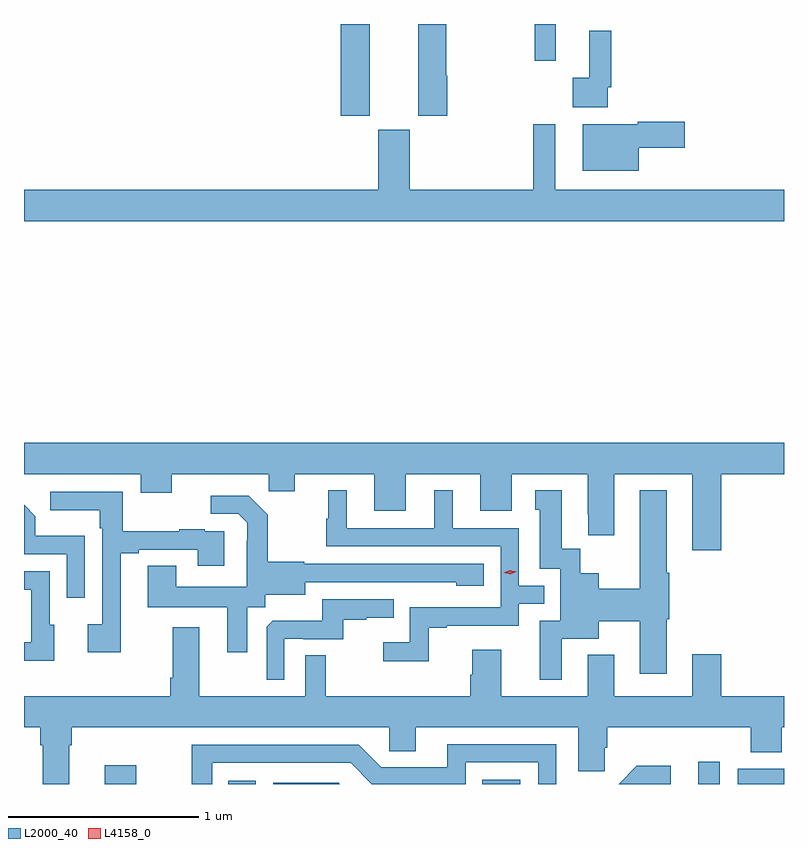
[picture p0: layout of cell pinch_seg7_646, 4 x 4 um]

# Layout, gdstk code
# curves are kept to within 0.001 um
import gdstk
lib = gdstk.Library(unit=1e-6, precision=1e-09)
def R(c, l, rs):  # rectangles x0, y0, x1, y1
    for r in rs: c.add(gdstk.rectangle(r[:2], r[2:], *l))
def P(c, l, *ps):  # polygons
    for p in ps: c.add(gdstk.Polygon(p, *l))
L2000_40 = (2000, 40)
L4158_0 = (4158, 0)

pinch_seg7_646 = lib.new_cell('pinch_seg7_646')
R(pinch_seg7_646, L2000_40, [(215.072,1026.957,215.238,1027.057), (215.722,1026.957,215.868,1026.973), (217.06,1026.957,217.258,1026.979), (218.195,1026.957,218.31,1027.075), (218.403,1026.957,218.647,1027.038), (216.314,1030.473,216.466,1030.957), (217.335,1030.764,217.445,1030.957)])
P(pinch_seg7_646, L2000_40, [(216.875,1030.685),(216.87,1030.685),(216.87,1030.957),(216.722,1030.957),(216.722,1030.473),(216.875,1030.473)],
  [(217.719,1030.624),(217.739,1030.624),(217.739,1030.921),(217.622,1030.921),(217.622,1030.673),(217.536,1030.673),(217.536,1030.52),(217.719,1030.52)],
  [(217.882,1030.307),(218.125,1030.307),(218.125,1030.442),(217.878,1030.442),(217.878,1030.429),(217.589,1030.429),(217.589,1030.184),(217.882,1030.184)],
  [(218.647,1030.084),(217.444,1030.084),(217.444,1030.429),(217.327,1030.429),(217.327,1030.084),(216.676,1030.084),(216.676,1030.401),(216.512,1030.401),(216.512,1030.084),(214.647,1030.084),(214.647,1029.92),(218.647,1029.92)],
  [(218.318,1028.588),(218.647,1028.588),(218.647,1028.752),(214.647,1028.752),(214.647,1028.588),(215.261,1028.588),(215.261,1028.489),(215.425,1028.489),(215.425,1028.588),(215.935,1028.588),(215.935,1028.498),(216.073,1028.498),(216.073,1028.588),(216.491,1028.588),(216.491,1028.394),(216.655,1028.394),(216.655,1028.588),(217.049,1028.588),(217.049,1028.394),(217.213,1028.394),(217.213,1028.588),(217.613,1028.588),(217.613,1028.377),(217.616,1028.377),(217.616,1028.265),(217.753,1028.265),(217.753,1028.588),(218.165,1028.588),(218.165,1028.187),(218.318,1028.187)],
  [(216.777,1027.779),(216.871,1027.779),(216.871,1027.791),(217.251,1027.791),(217.251,1027.905),(217.384,1027.905),(217.384,1028.001),(217.251,1028.001),(217.251,1028.304),(216.904,1028.304),(216.904,1028.503),(216.806,1028.503),(216.806,1028.304),(216.346,1028.304),(216.346,1028.503),(216.248,1028.503),(216.248,1028.352),(216.237,1028.352),(216.237,1028.208),(217.155,1028.208),(217.155,1027.887),(216.678,1027.887),(216.678,1027.702),(216.537,1027.702),(216.537,1027.603),(216.777,1027.603)],
  [(217.477,1027.721),(217.672,1027.721),(217.672,1027.813),(217.889,1027.813),(217.889,1027.536),(218.029,1027.536),(218.029,1027.824),(218.042,1027.824),(218.042,1028.068),(218.029,1028.068),(218.029,1028.503),(217.889,1028.503),(217.889,1027.985),(217.672,1027.985),(217.672,1028.065),(217.575,1028.065),(217.575,1028.195),(217.477,1028.195),(217.477,1028.503),(217.337,1028.503),(217.337,1028.4),(217.361,1028.4),(217.361,1028.091),(217.47,1028.091),(217.47,1027.815),(217.361,1027.815),(217.361,1027.506),(217.477,1027.506)],
  [(215.155,1028.172),(215.251,1028.172),(215.251,1028.19),(215.561,1028.19),(215.561,1028.106),(215.701,1028.106),(215.701,1028.286),(215.597,1028.286),(215.597,1028.299),(215.465,1028.299),(215.465,1028.288),(215.167,1028.288),(215.167,1028.496),(214.785,1028.496),(214.785,1028.399),(215.046,1028.399),(215.046,1028.303),(215.058,1028.303),(215.058,1027.798),(214.983,1027.798),(214.983,1027.65),(215.155,1027.65)],
  [(215.821,1027.888),(215.916,1027.888),(215.916,1027.952),(216.127,1027.952),(216.127,1028.019),(216.921,1028.018),(216.921,1028),(217.066,1028),(217.066,1028.115),(216.123,1028.115),(216.123,1028.128),(215.931,1028.128),(215.931,1028.373),(215.831,1028.473),(215.631,1028.473),(215.631,1028.379),(215.775,1028.379),(215.822,1028.332),(215.822,1028.237),(215.82,1028.237),(215.82,1027.996),(215.449,1027.996),(215.449,1028.105),(215.297,1028.105),(215.297,1027.886),(215.717,1027.886),(215.717,1027.65),(215.821,1027.65)],
  [(214.968,1028.263),(214.707,1028.263),(214.707,1028.366),(214.647,1028.426),(214.647,1028.166),(214.872,1028.166),(214.872,1027.938),(214.968,1027.938)],
  [(214.807,1027.794),(214.782,1027.794),(214.782,1028.076),(214.647,1028.076),(214.647,1027.98),(214.686,1027.98),(214.686,1027.704),(214.647,1027.704),(214.647,1027.607),(214.807,1027.607)],
  [(216.018,1027.722),(216.118,1027.722),(216.118,1027.719),(216.326,1027.719),(216.326,1027.821),(216.449,1027.821),(216.449,1027.832),(216.593,1027.832),(216.593,1027.929),(216.216,1027.929),(216.216,1027.817),(215.957,1027.817),(215.925,1027.785),(215.925,1027.505),(216.018,1027.505)],
  [(214.885,1027.16),(214.898,1027.16),(214.898,1027.256),(216.57,1027.256),(216.57,1027.129),(216.709,1027.129),(216.709,1027.256),(217.565,1027.256),(217.565,1027.024),(217.704,1027.024),(217.704,1027.147),(217.718,1027.147),(217.718,1027.256),(218.471,1027.256),(218.471,1027.123),(218.636,1027.123),(218.636,1027.256),(218.647,1027.256),(218.647,1027.42),(218.318,1027.42),(218.318,1027.639),(218.165,1027.639),(218.165,1027.42),(217.753,1027.42),(217.753,1027.636),(217.613,1027.636),(217.613,1027.42),(217.159,1027.42),(217.159,1027.663),(217.007,1027.663),(217.007,1027.533),(216.995,1027.533),(216.995,1027.42),(216.235,1027.42),(216.235,1027.634),(216.126,1027.634),(216.126,1027.42),(215.569,1027.42),(215.569,1027.783),(215.429,1027.783),(215.429,1027.516),(215.417,1027.516),(215.417,1027.42),(214.647,1027.42),(214.647,1027.256),(214.733,1027.256),(214.733,1027.16),(214.745,1027.16),(214.745,1026.957),(214.885,1026.957)],
  [(215.637,1027.068),(216.366,1027.068),(216.477,1026.957),(216.972,1026.957),(216.972,1027.071),(217.353,1027.071),(217.353,1026.957),(217.449,1026.957),(217.449,1027.167),(216.875,1027.167),(216.875,1027.044),(216.528,1027.044),(216.408,1027.164),(215.529,1027.164),(215.529,1026.957),(215.637,1026.957)],
  [(218.05,1027.052),(217.871,1027.052),(217.776,1026.957),(218.05,1026.957)],
  [(216.304,1026.963),(215.958,1026.963),(215.958,1026.957),(216.31,1026.957)])
P(pinch_seg7_646, L4158_0, [(217.206,1028.061),(217.171,1028.069),(217.171,1028.069),(217.171,1028.069),(217.204,1028.081),(217.239,1028.074),(217.24,1028.074),(217.239,1028.073)])

lib.write_gds('pinch_seg7_646.gds')
